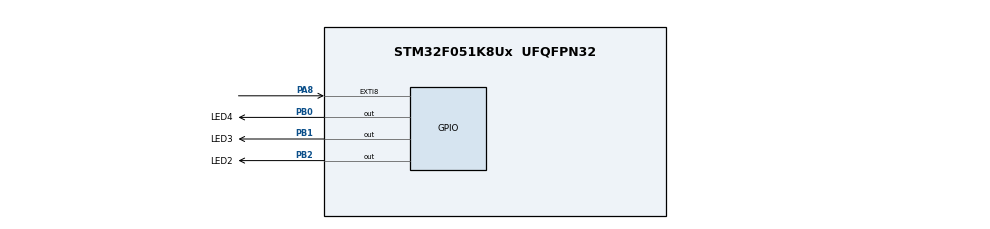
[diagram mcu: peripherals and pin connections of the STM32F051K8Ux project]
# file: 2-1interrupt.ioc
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Mcu.Family=STM32F0
Mcu.Name=STM32F051K8Ux
Mcu.Package=UFQFPN32
NVIC.EXTI4_15_IRQn=true\:1\:0\:true\:false\:true\:true\:true\:true
PA8.GPIO_ModeDefaultEXTI=GPIO_MODE_IT_RISING
PA8.Signal=GPXTI8
PB0.GPIO_Label=LED4
PB0.PinState=GPIO_PIN_SET
PB0.Signal=GPIO_Output
PB1.GPIO_Label=LED3
PB1.PinState=GPIO_PIN_SET
PB1.Signal=GPIO_Output
PB2.GPIO_Label=LED2
PB2.PinState=GPIO_PIN_SET
PB2.Signal=GPIO_Output
ProjectManager.HeapSize=0x200
ProjectManager.StackSize=0x400
ProjectManager.TargetToolchain=MDK-ARM V5.32
board=custom

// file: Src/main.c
/* USER CODE BEGIN Header */
/**
  ******************************************************************************
  * @file           : main.c
  * @brief          : Main program body
  ******************************************************************************
  * @attention
  *
  * Copyright (c) 2023 STMicroelectronics.
  * All rights reserved.
  *
  * This software is licensed under terms that can be found in the LICENSE file
  * in the root directory of this software component.
  * If no LICENSE file comes with this software, it is provided AS-IS.
  *
  ******************************************************************************
  */
/* USER CODE END Header */
#include "main.h"
#include "gpio.h"

/* USER CODE BEGIN PTD */
volatile uint8_t buttonflag=0;
volatile uint8_t flag=0;
/* USER CODE END PTD */

void SystemClock_Config(void);

/* USER CODE BEGIN 0 */
void HAL_GPIO_EXTI_Callback(uint16_t GPIO_Pin)
{
  if(flag==0){
    buttonflag++;
    if(buttonflag==2){
      flag=1;
    }
  }
  else if(flag==1){
    buttonflag--;
    if(buttonflag==0){
      flag=0;
    }
  }
}
/* USER CODE END 0 */

int main(void)
{

  /* MCU Configuration--------------------------------------------------------*/

  /* Reset of all peripherals, Initializes the Flash interface and the Systick. */
  HAL_Init();

  /* Configure the system clock */
  SystemClock_Config();

  /* Initialize all configured peripherals */
  MX_GPIO_Init();

  /* Infinite loop */
  while (1)
  {

    /* USER CODE BEGIN 3 */
    if(buttonflag==0){
      HAL_GPIO_WritePin(GPIOB,LED2_Pin,1);
      HAL_GPIO_WritePin(GPIOB,LED4_Pin,1);
      HAL_GPIO_TogglePin(GPIOB,LED3_Pin);
      HAL_Delay(100);
    }
    if(buttonflag==1){
      HAL_GPIO_WritePin(GPIOB,LED4_Pin,1);
      HAL_GPIO_WritePin(GPIOB,LED3_Pin,1);
      HAL_GPIO_TogglePin(GPIOB,LED2_Pin);
      HAL_Delay(100);
    }
    if(buttonflag==2){
      HAL_GPIO_WritePin(GPIOB,LED3_Pin,1);
      HAL_GPIO_WritePin(GPIOB,LED2_Pin,1);
      HAL_GPIO_TogglePin(GPIOB,LED4_Pin);
      HAL_Delay(100);
    }
  }
  /* USER CODE END 3 */
}

void SystemClock_Config(void)
{
  RCC_OscInitTypeDef RCC_OscInitStruct = {0};
  RCC_ClkInitTypeDef RCC_ClkInitStruct = {0};

  /** Initializes the RCC Oscillators according to the specified parameters
  * in the RCC_OscInitTypeDef structure.
  */
  RCC_OscInitStruct.OscillatorType = RCC_OSCILLATORTYPE_HSI;
  RCC_OscInitStruct.HSIState = RCC_HSI_ON;
  RCC_OscInitStruct.HSICalibrationValue = RCC_HSICALIBRATION_DEFAULT;
  RCC_OscInitStruct.PLL.PLLState = RCC_PLL_NONE;
  if (HAL_RCC_OscConfig(&RCC_OscInitStruct) != HAL_OK)
  {
    Error_Handler();
  }

  /** Initializes the CPU, AHB and APB buses clocks
  */
  RCC_ClkInitStruct.ClockType = RCC_CLOCKTYPE_HCLK|RCC_CLOCKTYPE_SYSCLK
                              |RCC_CLOCKTYPE_PCLK1;
  RCC_ClkInitStruct.SYSCLKSource = RCC_SYSCLKSOURCE_HSI;
  RCC_ClkInitStruct.AHBCLKDivider = RCC_SYSCLK_DIV1;
  RCC_ClkInitStruct.APB1CLKDivider = RCC_HCLK_DIV1;

  if (HAL_RCC_ClockConfig(&RCC_ClkInitStruct, FLASH_LATENCY_0) != HAL_OK)
  {
    Error_Handler();
  }
}

void Error_Handler(void)
{
  __disable_irq();
  while (1)
  {
  }
}
